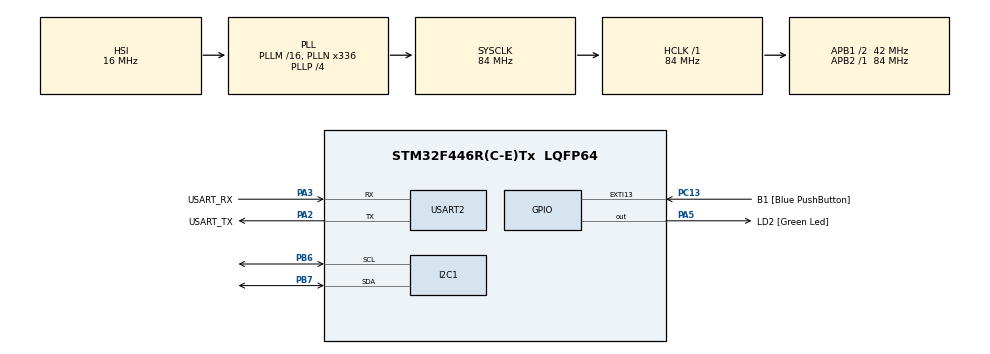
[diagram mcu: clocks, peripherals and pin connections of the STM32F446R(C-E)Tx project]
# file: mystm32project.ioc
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Dma.I2C1_RX.1.Direction=DMA_PERIPH_TO_MEMORY
Dma.I2C1_RX.1.FIFOMode=DMA_FIFOMODE_DISABLE
Dma.I2C1_RX.1.Instance=DMA1_Stream0
Dma.I2C1_RX.1.MemDataAlignment=DMA_MDATAALIGN_BYTE
Dma.I2C1_RX.1.MemInc=DMA_MINC_ENABLE
Dma.I2C1_RX.1.Mode=DMA_NORMAL
Dma.I2C1_RX.1.PeriphDataAlignment=DMA_PDATAALIGN_BYTE
Dma.I2C1_RX.1.PeriphInc=DMA_PINC_DISABLE
Dma.I2C1_RX.1.Priority=DMA_PRIORITY_LOW
Dma.I2C1_TX.0.Direction=DMA_MEMORY_TO_PERIPH
Dma.I2C1_TX.0.FIFOMode=DMA_FIFOMODE_DISABLE
Dma.I2C1_TX.0.Instance=DMA1_Stream6
Dma.I2C1_TX.0.MemDataAlignment=DMA_MDATAALIGN_BYTE
Dma.I2C1_TX.0.MemInc=DMA_MINC_ENABLE
Dma.I2C1_TX.0.Mode=DMA_NORMAL
Dma.I2C1_TX.0.PeriphDataAlignment=DMA_PDATAALIGN_BYTE
Dma.I2C1_TX.0.PeriphInc=DMA_PINC_DISABLE
Dma.I2C1_TX.0.Priority=DMA_PRIORITY_LOW
Dma.Request0=I2C1_TX
Dma.Request1=I2C1_RX
Mcu.Family=STM32F4
Mcu.Name=STM32F446R(C-E)Tx
Mcu.Package=LQFP64
NVIC.DMA1_Stream0_IRQn=true\:0\:0\:false\:false\:true\:false\:true\:true
NVIC.DMA1_Stream6_IRQn=true\:0\:0\:false\:false\:true\:false\:true\:true
NVIC.I2C1_ER_IRQn=true\:0\:0\:false\:false\:true\:true\:true\:true
NVIC.I2C1_EV_IRQn=true\:0\:0\:false\:false\:true\:true\:true\:true
NVIC.PriorityGroup=NVIC_PRIORITYGROUP_0
PA13.GPIO_Label=TMS
PA13.Mode=Serial_Wire
PA13.Signal=SYS_JTMS-SWDIO
PA14.GPIO_Label=TCK
PA14.Mode=Serial_Wire
PA14.Signal=SYS_JTCK-SWCLK
PA2.GPIO_Label=USART_TX
PA2.Mode=Asynchronous
PA2.Signal=USART2_TX
PA3.GPIO_Label=USART_RX
PA3.Mode=Asynchronous
PA3.Signal=USART2_RX
PA5.GPIO_Label=LD2 [Green Led]
PA5.Signal=GPIO_Output
PB3.GPIO_Label=SWO
PB3.Signal=SYS_JTDO-SWO
PB6.GPIO_Pu=GPIO_PULLUP
PB6.Mode=I2C
PB6.Signal=I2C1_SCL
PB7.Mode=I2C
PB7.Signal=I2C1_SDA
PC13.GPIO_Label=B1 [Blue PushButton]
PC13.GPIO_ModeDefaultEXTI=GPIO_MODE_IT_FALLING
PC13.Signal=GPXTI13
PC14-OSC32_IN.Mode=LSE-External-Oscillator
PC14-OSC32_IN.Signal=RCC_OSC32_IN
PC15-OSC32_OUT.Mode=LSE-External-Oscillator
PC15-OSC32_OUT.Signal=RCC_OSC32_OUT
PH0-OSC_IN.Mode=HSE-External-Oscillator
PH0-OSC_IN.Signal=RCC_OSC_IN
PH1-OSC_OUT.Mode=HSE-External-Oscillator
PH1-OSC_OUT.Signal=RCC_OSC_OUT
ProjectManager.HeapSize=0x200
ProjectManager.StackSize=0x400
ProjectManager.TargetToolchain=Makefile
RCC.48MHZClocksFreq_Value=84000000
RCC.AHBFreq_Value=84000000
RCC.APB1CLKDivider=RCC_HCLK_DIV2
RCC.APB1Freq_Value=42000000
RCC.APB1TimFreq_Value=84000000
RCC.APB2Freq_Value=84000000
RCC.APB2TimFreq_Value=84000000
RCC.CortexFreq_Value=84000000
RCC.FLatency-AdvancedSettings=FLASH_LATENCY_2
RCC.HCLKFreq_Value=84000000
RCC.HSE_VALUE=8000000
RCC.HSI_VALUE=16000000
RCC.PLLN=336
RCC.PLLP=RCC_PLLP_DIV4
RCC.SYSCLKFreq_VALUE=84000000
RCC.SYSCLKSource=RCC_SYSCLKSOURCE_PLLCLK
RCC.USBFreq_Value=168000000
RCC.VCOOutputFreq_Value=336000000
USART2.VirtualMode=VM_ASYNC
board=NUCLEO-F446RE

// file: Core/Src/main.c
/* USER CODE BEGIN Header */
/**
  ******************************************************************************
  * @file           : main.c
  * @brief          : Main program body
  ******************************************************************************
  * @attention
  *
  * Copyright (c) 2025 STMicroelectronics.
  * All rights reserved.
  *
  * This software is licensed under terms that can be found in the LICENSE file
  * in the root directory of this software component.
  * If no LICENSE file comes with this software, it is provided AS-IS.
  *
  ******************************************************************************
  */
/* USER CODE END Header */
#include "main.h"

/* USER CODE BEGIN Includes */
#include "bno055.h"
#include <stdio.h>
#include <string.h>
#include <stdlib.h>
/* USER CODE END Includes */

I2C_HandleTypeDef hi2c1;
DMA_HandleTypeDef hdma_i2c1_tx;
DMA_HandleTypeDef hdma_i2c1_rx;

UART_HandleTypeDef huart2;

/* USER CODE BEGIN PV */
char uart_buf[512];  // Increased buffer size for CSV data
BNO055_Vector_t accel_data = {0};
BNO055_Vector_t gyro_data = {0};
BNO055_Vector_t mag_data = {0};
BNO055_Vector_t euler_data = {0};
BNO055_CalibStatus_t calib_status = {0};
uint32_t i2c_errors = 0;
uint32_t i2c_success = 0;
/* USER CODE END PV */

void SystemClock_Config(void);
static void MX_GPIO_Init(void);
static void MX_DMA_Init(void);
static void MX_USART2_UART_Init(void);
static void MX_I2C1_Init(void);

int main(void)
{

  /* MCU Configuration--------------------------------------------------------*/

  /* Reset of all peripherals, Initializes the Flash interface and the Systick. */
  HAL_Init();

  /* Configure the system clock */
  SystemClock_Config();

  /* Initialize all configured peripherals */
  MX_GPIO_Init();
  MX_DMA_Init();
  MX_USART2_UART_Init();
  MX_I2C1_Init();
  /* USER CODE BEGIN 2 */

  // I2C Scanner - Scan for connected devices
  sprintf(uart_buf, "\r\n=== I2C Scanner ===\r\n");
  HAL_UART_Transmit(&huart2, (uint8_t*)uart_buf, strlen(uart_buf), HAL_MAX_DELAY);
  sprintf(uart_buf, "Scanning I2C bus...\r\n");
  HAL_UART_Transmit(&huart2, (uint8_t*)uart_buf, strlen(uart_buf), HAL_MAX_DELAY);

  int devices_found = 0;
  for (uint8_t addr = 1; addr < 127; addr++) {
    // Try to communicate with device at address
    HAL_StatusTypeDef result = HAL_I2C_IsDeviceReady(&hi2c1, (addr << 1), 1, 10);
    if (result == HAL_OK) {
      sprintf(uart_buf, "Device found at 0x%02X\r\n", addr);
      HAL_UART_Transmit(&huart2, (uint8_t*)uart_buf, strlen(uart_buf), HAL_MAX_DELAY);
      devices_found++;
    }
  }

  if (devices_found == 0) {
    sprintf(uart_buf, "No I2C devices found!\r\n");
  } else {
    sprintf(uart_buf, "Scan complete. Found %d device(s).\r\n", devices_found);
  }
  HAL_UART_Transmit(&huart2, (uint8_t*)uart_buf, strlen(uart_buf), HAL_MAX_DELAY);
  sprintf(uart_buf, "==================\r\n\r\n");
  HAL_UART_Transmit(&huart2, (uint8_t*)uart_buf, strlen(uart_buf), HAL_MAX_DELAY);

  HAL_Delay(1000);

  // Initialize BNO055 sensor
  sprintf(uart_buf, "BNO055 Initializing...\r\n");
  HAL_UART_Transmit(&huart2, (uint8_t*)uart_buf, strlen(uart_buf), HAL_MAX_DELAY);

  if (BNO055_Init(&hi2c1) == HAL_OK) {
    sprintf(uart_buf, "BNO055 Initialization OK!\r\n");
  } else {
    sprintf(uart_buf, "BNO055 Initialization FAILED!\r\n");
  }
  HAL_UART_Transmit(&huart2, (uint8_t*)uart_buf, strlen(uart_buf), HAL_MAX_DELAY);

  /* USER CODE END 2 */

  /* Print CSV header */
  sprintf(uart_buf, "timestamp,calib_sys,calib_gyro,calib_accel,calib_mag,euler_h,euler_r,euler_p,accel_x,accel_y,accel_z,gyro_x,gyro_y,gyro_z,mag_x,mag_y,mag_z,status\r\n");
  HAL_UART_Transmit(&huart2, (uint8_t*)uart_buf, strlen(uart_buf), HAL_MAX_DELAY);

  /* Infinite loop */
  while (1)
  {

    /* USER CODE BEGIN 3 */

    HAL_StatusTypeDef status;
    uint32_t timestamp = HAL_GetTick();

    // Read all sensor data (no delays - data should be ready)
    status = BNO055_GetCalibration(&hi2c1, &calib_status);
    if (status != HAL_OK) {
      i2c_errors++;
      HAL_Delay(100);
      continue;
    }

    status = BNO055_ReadEuler(&hi2c1, &euler_data);
    if (status != HAL_OK) {
      i2c_errors++;
      HAL_Delay(100);
      continue;
    }

    status = BNO055_ReadAccel(&hi2c1, &accel_data);
    if (status != HAL_OK) {
      i2c_errors++;
      HAL_Delay(100);
      continue;
    }

    status = BNO055_ReadGyro(&hi2c1, &gyro_data);
    if (status != HAL_OK) {
      i2c_errors++;
      HAL_Delay(100);
      continue;
    }

    status = BNO055_ReadMag(&hi2c1, &mag_data);
    if (status != HAL_OK) {
      i2c_errors++;
      HAL_Delay(100);
      continue;
    }

    i2c_success++;

    // Calculate integer and decimal parts for CSV output
    int16_t eh = euler_data.x / 16;
    int16_t er = euler_data.y / 16;
    int16_t ep = euler_data.z / 16;
    int16_t eh_dec = abs((euler_data.x % 16) * 100 / 16);
    int16_t er_dec = abs((euler_data.y % 16) * 100 / 16);
    int16_t ep_dec = abs((euler_data.z % 16) * 100 / 16);

    int16_t ax = accel_data.x / 100;
    int16_t ay = accel_data.y / 100;
    int16_t az = accel_data.z / 100;
    int16_t ax_dec = abs(accel_data.x % 100);
    int16_t ay_dec = abs(accel_data.y % 100);
    int16_t az_dec = abs(accel_data.z % 100);

    int16_t gx = gyro_data.x / 16;
    int16_t gy = gyro_data.y / 16;
    int16_t gz = gyro_data.z / 16;
    int16_t gx_dec = abs((gyro_data.x % 16) * 100 / 16);
    int16_t gy_dec = abs((gyro_data.y % 16) * 100 / 16);
    int16_t gz_dec = abs((gyro_data.z % 16) * 100 / 16);

    int16_t mx = mag_data.x / 16;
    int16_t my = mag_data.y / 16;
    int16_t mz = mag_data.z / 16;
    int16_t mx_dec = abs((mag_data.x % 16) * 100 / 16);
    int16_t my_dec = abs((mag_data.y % 16) * 100 / 16);
    int16_t mz_dec = abs((mag_data.z % 16) * 100 / 16);

    // Format data as CSV (using integer.decimal format)
    // timestamp,calib_sys,calib_gyro,calib_accel,calib_mag,euler_h,euler_r,euler_p,accel_x,accel_y,accel_z,gyro_x,gyro_y,gyro_z,mag_x,mag_y,mag_z,status
    sprintf(uart_buf, "%lu,%d,%d,%d,%d,%d.%02d,%d.%02d,%d.%02d,%d.%02d,%d.%02d,%d.%02d,%d.%02d,%d.%02d,%d.%02d,%d.%02d,%d.%02d,%d.%02d,OK\r\n",
            timestamp,
            calib_status.sys, calib_status.gyro, calib_status.accel, calib_status.mag,
            eh, eh_dec, er, er_dec, ep, ep_dec,
            ax, ax_dec, ay, ay_dec, az, az_dec,
            gx, gx_dec, gy, gy_dec, gz, gz_dec,
            mx, mx_dec, my, my_dec, mz, mz_dec);

    HAL_UART_Transmit(&huart2, (uint8_t*)uart_buf, strlen(uart_buf), HAL_MAX_DELAY);

    HAL_Delay(200);  // Read data every 200ms (5Hz update rate)

  }
  /* USER CODE END 3 */
}

void SystemClock_Config(void)
{
  RCC_OscInitTypeDef RCC_OscInitStruct = {0};
  RCC_ClkInitTypeDef RCC_ClkInitStruct = {0};

  /** Configure the main internal regulator output voltage
  */
  __HAL_RCC_PWR_CLK_ENABLE();
  __HAL_PWR_VOLTAGESCALING_CONFIG(PWR_REGULATOR_VOLTAGE_SCALE3);

  /** Initializes the RCC Oscillators according to the specified parameters
  * in the RCC_OscInitTypeDef structure.
  */
  RCC_OscInitStruct.OscillatorType = RCC_OSCILLATORTYPE_HSI;
  RCC_OscInitStruct.HSIState = RCC_HSI_ON;
  RCC_OscInitStruct.HSICalibrationValue = RCC_HSICALIBRATION_DEFAULT;
  RCC_OscInitStruct.PLL.PLLState = RCC_PLL_ON;
  RCC_OscInitStruct.PLL.PLLSource = RCC_PLLSOURCE_HSI;
  RCC_OscInitStruct.PLL.PLLM = 16;
  RCC_OscInitStruct.PLL.PLLN = 336;
  RCC_OscInitStruct.PLL.PLLP = RCC_PLLP_DIV4;
  RCC_OscInitStruct.PLL.PLLQ = 2;
  RCC_OscInitStruct.PLL.PLLR = 2;
  if (HAL_RCC_OscConfig(&RCC_OscInitStruct) != HAL_OK)
  {
    Error_Handler();
  }

  /** Initializes the CPU, AHB and APB buses clocks
  */
  RCC_ClkInitStruct.ClockType = RCC_CLOCKTYPE_HCLK|RCC_CLOCKTYPE_SYSCLK
                              |RCC_CLOCKTYPE_PCLK1|RCC_CLOCKTYPE_PCLK2;
  RCC_ClkInitStruct.SYSCLKSource = RCC_SYSCLKSOURCE_PLLCLK;
  RCC_ClkInitStruct.AHBCLKDivider = RCC_SYSCLK_DIV1;
  RCC_ClkInitStruct.APB1CLKDivider = RCC_HCLK_DIV2;
  RCC_ClkInitStruct.APB2CLKDivider = RCC_HCLK_DIV1;

  if (HAL_RCC_ClockConfig(&RCC_ClkInitStruct, FLASH_LATENCY_2) != HAL_OK)
  {
    Error_Handler();
  }
}

static void MX_I2C1_Init(void)
{

  hi2c1.Instance = I2C1;
  hi2c1.Init.ClockSpeed = 100000;
  hi2c1.Init.DutyCycle = I2C_DUTYCYCLE_2;
  hi2c1.Init.OwnAddress1 = 0;
  hi2c1.Init.AddressingMode = I2C_ADDRESSINGMODE_7BIT;
  hi2c1.Init.DualAddressMode = I2C_DUALADDRESS_DISABLE;
  hi2c1.Init.OwnAddress2 = 0;
  hi2c1.Init.GeneralCallMode = I2C_GENERALCALL_DISABLE;
  hi2c1.Init.NoStretchMode = I2C_NOSTRETCH_DISABLE;
  if (HAL_I2C_Init(&hi2c1) != HAL_OK)
  {
    Error_Handler();
  }

}

static void MX_USART2_UART_Init(void)
{

  huart2.Instance = USART2;
  huart2.Init.BaudRate = 115200;
  huart2.Init.WordLength = UART_WORDLENGTH_8B;
  huart2.Init.StopBits = UART_STOPBITS_1;
  huart2.Init.Parity = UART_PARITY_NONE;
  huart2.Init.Mode = UART_MODE_TX_RX;
  huart2.Init.HwFlowCtl = UART_HWCONTROL_NONE;
  huart2.Init.OverSampling = UART_OVERSAMPLING_16;
  if (HAL_UART_Init(&huart2) != HAL_OK)
  {
    Error_Handler();
  }

}

static void MX_DMA_Init(void)
{

  /* DMA controller clock enable */
  __HAL_RCC_DMA1_CLK_ENABLE();

  /* DMA interrupt init */
  /* DMA1_Stream0_IRQn interrupt configuration */
  HAL_NVIC_SetPriority(DMA1_Stream0_IRQn, 0, 0);
  HAL_NVIC_EnableIRQ(DMA1_Stream0_IRQn);
  /* DMA1_Stream6_IRQn interrupt configuration */
  HAL_NVIC_SetPriority(DMA1_Stream6_IRQn, 0, 0);
  HAL_NVIC_EnableIRQ(DMA1_Stream6_IRQn);

}

static void MX_GPIO_Init(void)
{
  GPIO_InitTypeDef GPIO_InitStruct = {0};

  /* GPIO Ports Clock Enable */
  __HAL_RCC_GPIOC_CLK_ENABLE();
  __HAL_RCC_GPIOH_CLK_ENABLE();
  __HAL_RCC_GPIOA_CLK_ENABLE();
  __HAL_RCC_GPIOB_CLK_ENABLE();

  /*Configure GPIO pin Output Level */
  HAL_GPIO_WritePin(LD2_GPIO_Port, LD2_Pin, GPIO_PIN_RESET);

  /*Configure GPIO pin : B1_Pin */
  GPIO_InitStruct.Pin = B1_Pin;
  GPIO_InitStruct.Mode = GPIO_MODE_IT_FALLING;
  GPIO_InitStruct.Pull = GPIO_NOPULL;
  HAL_GPIO_Init(B1_GPIO_Port, &GPIO_InitStruct);

  /*Configure GPIO pin : LD2_Pin */
  GPIO_InitStruct.Pin = LD2_Pin;
  GPIO_InitStruct.Mode = GPIO_MODE_OUTPUT_PP;
  GPIO_InitStruct.Pull = GPIO_NOPULL;
  GPIO_InitStruct.Speed = GPIO_SPEED_FREQ_LOW;
  HAL_GPIO_Init(LD2_GPIO_Port, &GPIO_InitStruct);

}

void Error_Handler(void)
{
  __disable_irq();
  while (1)
  {
  }
}
